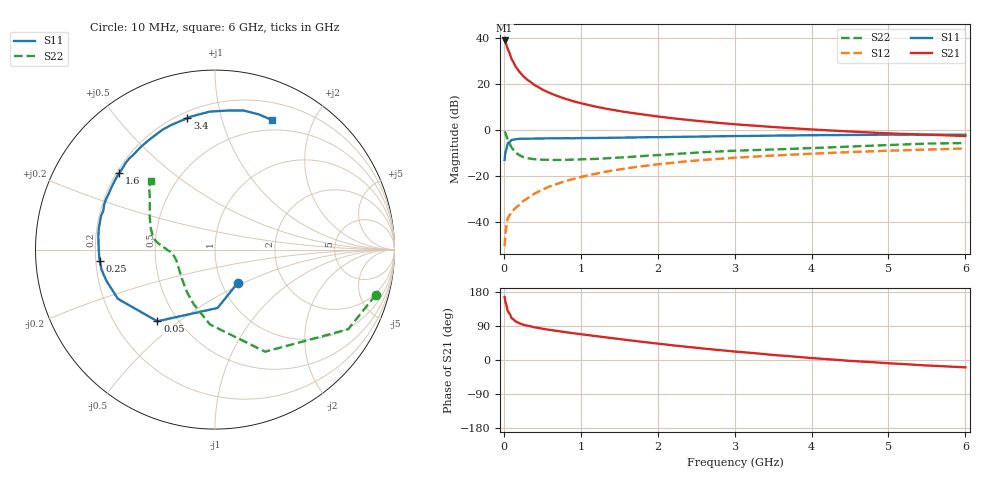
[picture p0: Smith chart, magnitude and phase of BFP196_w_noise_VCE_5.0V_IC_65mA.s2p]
! Infineon Technologies  Discrete & RF Semiconductors
! BFP196
! VCE =  5.0 V,  IC =  65 mA
! Common Emitter S-Parameters:  Jan 2017
# GHz  S  MA  R  50
!  f  S11  S21  S12  S22
! GHz  MAG  ANG  MAG  ANG  MAG  ANG  MAG  ANG
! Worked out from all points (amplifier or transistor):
!   77 points, 10 MHz to 6 GHz, reference 50 ohm
!   highest |S21| = 38.8 dB at 10 MHz (marker M1)
!   |S21| within 3 dB of that: start of sweep to 43.67 MHz
!   unconditionally stable (mu >= 1): 485 MHz to 2.467 GHz
!   at 130 MHz: K = 0.68, MSG = 31.8 dB, |S12| = -34.6 dB
!   at 2.2 GHz: K = 1.01, MAG = 9.0 dB, |S12| = -14.2 dB
!   at 6 GHz: K = 0.95, MSG = 2.7 dB, |S12| = -8.1 dB
!   lowest NFmin = 1.62 dB at 450 MHz
!   S11 on the Smith chart (normalised r, x): 10 MHz: 1.19, -0.46; 50 MHz: 0.39, -0.42; 250 MHz: 0.22, -0.05; 1.6 GHz: 0.21, +0.34; 3.4 GHz: 0.24, +0.78; 6 GHz: 0.38, +1.46
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0.01  0.2245 -55.6  87.59 166.2  0.003 75.6  0.9308 -15.7
0.02  0.3255 -87.5  82.53 154.0  0.0055 72.3  0.8646 -30.9
0.05  0.5125 -128.8  57.85 128.9  0.0121 58.6  0.6335 -63.9
0.1  0.6065 -153.1  34.84 110.5  0.0161 55.6  0.4176 -93.9
0.15  0.6292 -163.9  24.24 102.3  0.0202 56.8  0.3264 -111.3
0.2  0.6413 -169.7  18.47 97.1  0.0235 61.8  0.2837 -123.3
0.25  0.6453 -174.2  14.87 93.3  0.0284 62.9  0.2593 -131.9
0.3  0.6465 -177.3  12.46 90.7  0.0322 64.6  0.245 -138.9
0.4  0.6492 177.7  9.416 86.2  0.0416 67.7  0.2311 -148.2
0.5  0.6539 173.6  7.539 82.6  0.0503 68.5  0.2259 -154.5
0.6  0.6576 170.0  6.316 79.3  0.0598 68.0  0.2246 -159.5
0.7  0.6591 167.0  5.417 76.6  0.068 68.4  0.2228 -163.2
0.9  0.6593 160.6  4.217 70.8  0.0858 66.7  0.227 -168.0
1.1  0.6684 155.0  3.479 65.6  0.1038 64.9  0.2328 -171.9
1.3  0.6726 149.4  2.956 60.4  0.1215 62.7  0.2406 -174.7
1.6  0.6829 141.2  2.428 52.8  0.1468 58.7  0.2565 -178.4
2.1  0.7006 128.4  1.873 41.0  0.1865 51.7  0.2916 176.6
3.1  0.7381 107.3  1.293 20.7  0.2545 38.0  0.3585 166.6
3.4  0.7483 101.9  1.189 15.3  0.2719 34.3  0.3721 162.7
4.1  0.7698 90.8  1.005 3.7  0.3099 25.6  0.4095 152.6
5.1  0.7904 77.1  0.831 -9.7  0.3583 14.0  0.4772 139.8
6  0.7885 66.2  0.738 -19.5  0.3955 3.8  0.5206 133.1
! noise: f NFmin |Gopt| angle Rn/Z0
0.45  1.62  0.43  -173  0.06
0.9  1.78  0.49  -160  0.08
1.9  2.59  0.69  -131  0.35
2.4  3  0.7  -118  0.75
